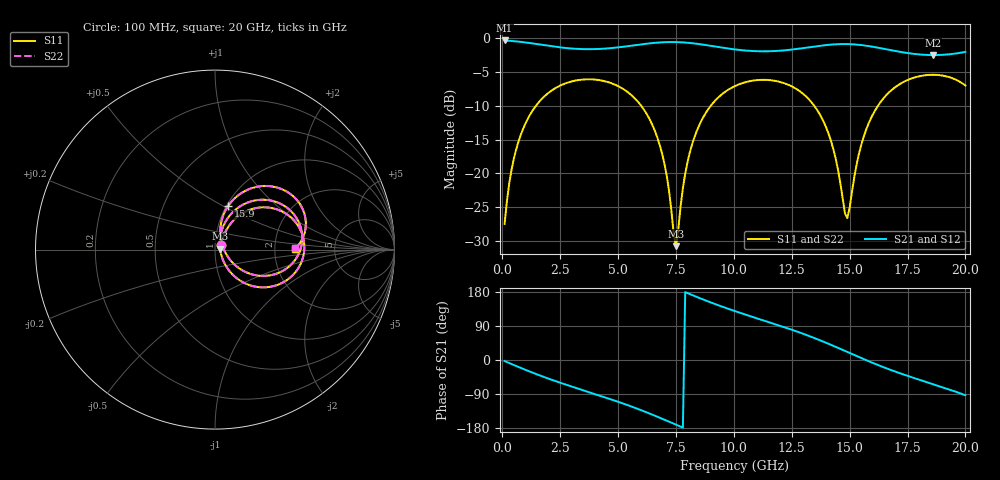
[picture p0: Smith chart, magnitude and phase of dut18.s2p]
! Touchstone file exported from HFSS 2026.1.0
!  File:  C:/ffzhzh/LocalFiles/Ansys_Project_Files/temp_test_TSV_RDL_18_1782980797_45568.aedt
!  Generated:  04:38:03 PM Jul  2, 2026
!  Design:  TSV_RDL
!  Project:  temp_test_TSV_RDL_18_1782980797_45568
! Variables:
!  h_bsmrdl = 3.32um
!  h_ox = 20um
!  h_rdl = 5um
!  h_sub = 94.32um
!  h_tmrdl = 5.14um
!  h_tsv = 94.32um
!  h_via = 3um
!  l_bsmrdl = 979.94um
!  l_sub = 7343.27um
!  l_tmrdl = 971.77um
!  m_sub = 200um
!  pitch = 45.53um
!  r_tsv = 12.89um
!  s_tmrdl = 10um
!  w_bsmrdl = 26.01um
!  w_sub = 500um
!  w_tmrdl = 12.78um
!  x_tsv_center1 = 978.16um
!  x_tsv_center2 = 1984.11um
!  x_tsv_center3 = 2968.66um
!  x_tsv_center4 = 3974.61um
!  x_tsv_center5 = 4959.16um
!  x_tsv_center6 = 5965.11um
# GHz S MA R 50.000000
! Terminal data exported
! Port[1] = TM_RDL1_1_T1
! Port[2] = TM_RDL5_1_T1
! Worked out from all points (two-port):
!   200 points, 100 MHz to 20 GHz, reference 50 ohm
!   highest |S21| = -0.29 dB at 100 MHz (marker M1); lowest = -2.5 dB at 18.6 GHz (marker M2)
!   |S21| within 3 dB of the highest: start of sweep to end of sweep
!   lowest |S11| = -30.8 dB at 7.5 GHz (marker M3), VSWR 1.06, Z = 52.9 + j0.577 ohm
!   |S11| at or under -10 dB: start of sweep to 1.449 GHz; 6.004 GHz to 8.999 GHz (2.995 GHz wide, 39.9 % of centre); 13.48 GHz to 16.22 GHz (2.746 GHz wide, 18.5 % of centre)
!   |S22| runs from -30.9 to -5.4 dB; largest |S21 - S12| = 1.6e-14
!   S11 on the Smith chart (normalised r, x): 100 MHz: 1.07, +0.05; 15.9 GHz: 1.02, +0.52; 20 GHz: 2.62, +0.04
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0.1  0.04231 35.9  0.9666 -2.8  0.9666 -2.8  0.04231 35.9
! Gamma 0 0 0 0
! Port Impedance 50 0 50 0
0.5  0.1288 59.9  0.9552 -13.3  0.9552 -13.3  0.1288 59.9
1.1  0.2539 53.0  0.9296 -28.4  0.9296 -28.4  0.2539 53.0
2.2  0.4189 31.7  0.8719 -53.6  0.8719 -53.6  0.4189 31.7
3.5  0.4965 7.1  0.8338 -80.0  0.8338 -80.0  0.4965 7.1
5.5  0.39 -31.0  0.8803 -121.0  0.8803 -121.0  0.3901 -31.1
6.8  0.1622 -55.2  0.9343 -152.3  0.9343 -152.3  0.1623 -55.3
7.1  0.09632 -55.6  0.9399 -160.1  0.9399 -160.1  0.09635 -55.7
7.5  0.02887 10.9  0.9404 -170.5  0.9404 -170.5  0.02865 10.7
7.9  0.09969 70.1  0.9328 179.0  0.9328 179.0  0.09952 70.2
8.3  0.1859 68.2  0.9181 168.9  0.9181 168.9  0.1858 68.2
9  0.3164 55.6  0.8821 151.9  0.8821 151.9  0.3162 55.6
10.1  0.4483 34.3  0.8272 127.9  0.8272 127.9  0.4482 34.4
11.8  0.4845 3.6  0.8075 94.3  0.8075 94.3  0.4844 3.6
13.4  0.3289 -26.2  0.8679 59.8  0.8679 59.8  0.3289 -26.2
14.2  0.1729 -37.7  0.9008 39.9  0.9008 39.9  0.1729 -37.7
14.9  0.04656 25.2  0.9089 21.2  0.9089 21.2  0.04637 25.2
15.4  0.1389 76.8  0.8975 7.8  0.8975 7.8  0.1388 76.9
15.9  0.2515 73.4  0.8739 -5.2  0.8739 -5.2  0.2514 73.5
16.7  0.3981 59.2  0.8242 -24.5  0.8242 -24.5  0.398 59.3
18.6  0.5382 25.0  0.7531 -63.7  0.7531 -63.7  0.5381 25.1
20  0.4479 0.8  0.7951 -93.0  0.7951 -93.0  0.4478 0.9
